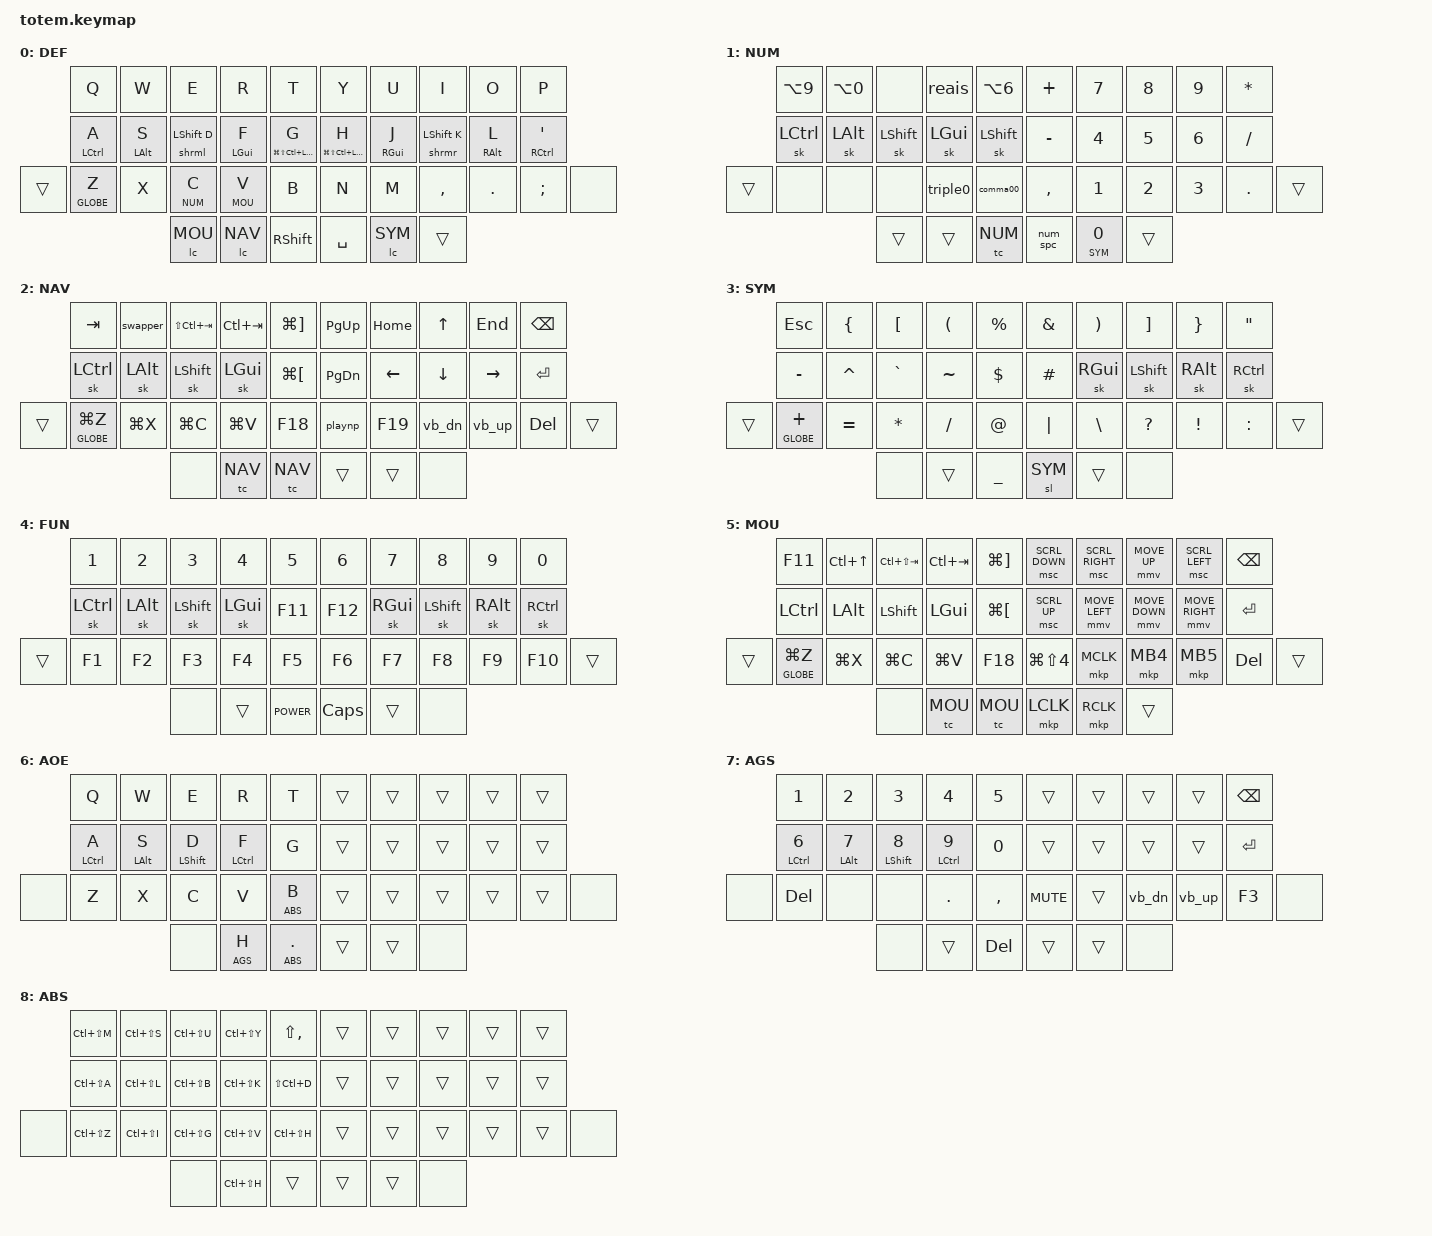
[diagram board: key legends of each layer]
#include <behaviors.dtsi>
#include <dt-bindings/zmk/keys.h>
#include <dt-bindings/zmk/bt.h>
#include <dt-bindings/zmk/outputs.h>

// Layer and key defines to improve readability
#define DEF 0
#define NUM 1 
#define NAV 2 
#define SYM 3
#define FUN 4
#define MOU 5 // also great for one-handed use with a mouse on the right hand

// AOE layers
#define AOE 6 // AOE 2 layers with easier access for default shortcuts on main layer
#define AGS 7
#define ABS 8

#define HYPR LG(LS(LC(LALT))) // shorthand for HYPER key hold-tap on G and H keys

// These includes allow for easier maintenance and readability between different keymaps
#include "features/totem_keypos.h"                  // Key positions naming scheme for 34 keys keymaps (this is keyboard specific, but makes the rest of the includes keyboard agnostic)

// Features and customizations (these files are shared with Sweep repo)
#include "features/timings.h"                       // Timing definitions for hold-tap and combos
#include "features/core_behaviors_overrides.dtsi"   // Overrides for core behaviors such as &sk, &mt and &lt
#include "features/mouse.dtsi"                      // Requires layer defines above
#include "features/num_word.dtsi"                   // Custom behaviors like swapper and desktop quit

/ {
     combos {
        #include "features/combos.dtsi"              // Very same combos from Sweep
    };

    behaviors {
        #include "features/custom_behaviors.dtsi"    // Very same behaviors from Sweep
    };

    macros {
        #include "features/layer_cancel_macros.dtsi" // Layer change behaviors with and embeded cancel to absorb unused queued mods
        #include "features/typing_macros.dtsi"       // Typing macros for common words and phrases
    };

    conditional_layers {
        compatible = "zmk,conditional-layers";

        tri_layer_for_function_and_number_row_keys {
            if-layers = <NAV SYM>;
            then-layer = <FUN>;
        };      
    };

    keymap {
        compatible = "zmk,keymap";
                
        DEF {
            bindings = <
        &kp Q          &kp W        &kp E          &kp R        &kp T         &kp Y         &kp U         &kp I          &kp O         &kp P
        &hrml LCTRL A  &hrml LALT S &shrml LSHFT D &hrml LGUI F &hrml HYPR G  &hrmr HYPR H  &hrmr RGUI J  &shrmr LSHFT K &hrmr RALT L  &hrmr RCTRL SQT
&trans  &hrml GLOBE Z  &kp X        &ltl NUM C     &ltl MOU V   &kp B         &kp N         &kp M         &kp COMMA      &kp DOT       &kp SEMI        &none
                                    &lc MOU        &lc NAV      &kp RSHFT     &kp SPC       &lc SYM       &trans
            >;
        };
          
        NUM {
            bindings = <
        &kp LA(N9) &kp LA(N0) &none       &reais      &kp LA(N6)  &kp PLUS    &kp N7  &kp N8  &kp N9  &kp ASTRK
        &sk LCTRL  &sk LALT   &sk LSHFT   &sk LGUI    &sk LSHFT   &kp MINUS   &kp N4  &kp N5  &kp N6  &kp SLASH
&trans  &none      &none      &none       &triple0    &comma00    &kp COMMA   &kp N1  &kp N2  &kp N3  &kp DOT   &trans
                              &trans      &trans      &tc NUM     &num_spc    &lt SYM N0  &trans
            >;
        };

        NAV {
            bindings = <
        &kp TAB         &swapper  &kp LS(LC(TAB)) &kp LC(TAB)   &kp LG(RBKT)    &kp PG_UP  &kp HOME &kp UP    &kp END   &kp BSPC
        &sk LCTRL       &sk LALT  &sk LSHFT       &sk LGUI      &kp LG(LBKT)    &kp PG_DN  &kp LEFT &kp DOWN  &kp RIGHT &kp RET
&trans  &mt GLOBE LG(Z) &kp LG(X) &kp LG(C)       &kp LG(V)     &kp F18         &playnp    &kp F19  &vb_dn    &vb_up    &kp DEL  &trans
                                  &none           &tc NAV       &tc NAV         &trans     &trans   &none

            >;
        };

        SYM {
            bindings = <
        &kp ESC           &kp LBRC   &kp LBKT   &kp LPAR   &kp PRCNT    &kp AMPS   &kp RPAR  &kp RBKT   &kp RBRC  &kp DQT
        &kp MINUS         &kp CARET  &kp GRAVE  &kp TILDE  &kp DOLLAR   &kp HASH   &sk RGUI  &sk LSHFT  &sk RALT  &sk RCTRL
&trans  &mt GLOBE PLUS    &kp EQUAL  &kp ASTRK  &kp FSLH   &kp AT       &kp PIPE   &kp BSLH  &kp QMARK  &kp EXCL  &kp COLON  &trans
                                     &none      &trans     &kp UNDER    &sl SYM    &trans    &none
            >;
        };

        FUN {
            bindings = <
        &kp N1     &kp N2    &kp N3     &kp N4    &kp N5        &kp N6   &kp N7    &kp N8     &kp N9    &kp N0
        &sk LCTRL  &sk LALT  &sk LSHFT  &sk LGUI  &kp F11       &kp F12  &sk RGUI  &sk LSHFT  &sk RALT  &sk RCTRL
&trans  &kp F1     &kp F2    &kp F3     &kp F4    &kp F5        &kp F6   &kp F7    &kp F8     &kp F9    &kp F10   &trans
                             &none      &trans    &kp C_POWER   &kp CAPS &trans    &none
            >;
        };

        MOU {
            bindings = <
        &kp F11         &kp LC(UP)  &kp LC(LS(TAB)) &kp LC(TAB)   &kp LG(RBKT)  &msc SCRL_DOWN  &msc SCRL_RIGHT &mmv MOVE_UP    &msc SCRL_LEFT  &kp BSPC
        &kp LCTRL       &kp LALT    &kp LSHFT       &kp LGUI      &kp LG(LBKT)  &msc SCRL_UP    &mmv MOVE_LEFT  &mmv MOVE_DOWN  &mmv MOVE_RIGHT &kp ENTER
&trans  &mt GLOBE LG(Z) &kp LG(X)   &kp LG(C)       &kp LG(V)     &kp F18       &kp LG(LS(N4))  &mkp MCLK       &mkp MB4        &mkp MB5        &kp DEL   &trans
                                    &none           &tc MOU       &tc MOU       &mkp LCLK       &mkp RCLK       &trans
            >;          
        };

        AOE {
            bindings = <
        &kp Q        &kp W      &kp E       &kp R        &kp T        &trans  &trans  &trans  &trans  &trans
        &mt LCTRL A  &mt LALT S &mt LSHFT D &mt LCTRL F  &kp G        &trans  &trans  &trans  &trans  &trans
&none   &kp Z        &kp X      &kp C       &kp V        &lt ABS B    &trans  &trans  &trans  &trans  &trans  &none
                                &none       &lt AGS H    &lt ABS DOT  &trans  &trans  &none
            >;
        };

        AGS {
            bindings = <
        &kp N1        &kp N2       &kp N3       &kp N4        &kp N5     &trans     &trans  &trans  &trans  &kp BSPC
        &mt LCTRL N6  &mt LALT N7  &mt LSHFT N8 &mt LCTRL N9  &kp N0     &trans     &trans  &trans  &trans  &kp ENTER
&none   &kp DEL       &none        &none        &kp DOT       &kp COMMA  &kp C_MUTE &trans  &vb_dn  &vb_up  &kp F3      &none
                                   &none        &trans        &kp DEL    &trans     &trans  &none
            >;
        };

        ABS {
            bindings = <
        &kp LC(LS(M))   &kp LC(LS(S))   &kp LC(LS(U))   &kp LC(LS(Y))   &kp LS(COMMA)    &trans  &trans  &trans  &trans  &trans
        &kp LC(LS(A))   &kp LC(LS(L))   &kp LC(LS(B))   &kp LC(LS(K))   &kp LS(LC(D))    &trans  &trans  &trans  &trans  &trans
&none   &kp LC(LS(Z))   &kp LC(LS(I))   &kp LC(LS(G))   &kp LC(LS(V))   &kp LC(LS(H))    &trans  &trans  &trans  &trans  &trans &none
                                        &none           &kp LC(LS(H))   &trans           &trans  &trans  &none
            >;
        };

  };
};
